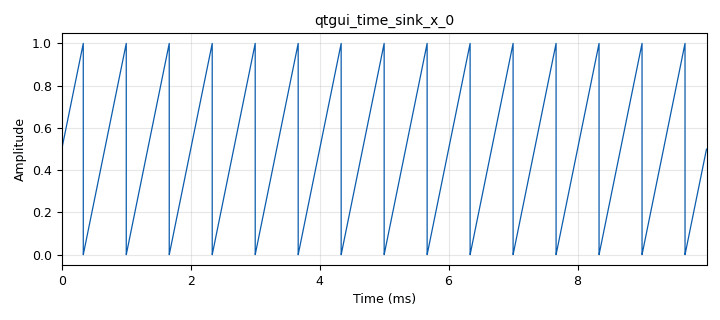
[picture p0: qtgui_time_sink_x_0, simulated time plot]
options:
  parameters:
    author: emzi
    generate_options: qt_gui
    id: txrx
    output_language: python
    title: Not titled yet
  states: {}

blocks:
- name: freq
  id: variable
  parameters:
    value: '1575420000'
  states: {}
- name: rx_samp_rate
  id: variable
  parameters:
    value: '250000'
  states: {}
- name: tone
  id: variable_qtgui_range
  parameters:
    start: '0'
    step: '1'
    stop: '5000'
    value: '1500'
  states: {}
- name: tx_samp_rate
  id: variable
  parameters:
    value: '8000000'
  states: {}
- name: analog_sig_source_x_0
  id: analog_sig_source_x
  parameters:
    amp: '1'
    freq: tone
    offset: '0'
    phase: '0'
    samp_rate: tx_samp_rate
    type: complex
    waveform: analog.GR_SAW_WAVE
  states: {}
- name: audio_sink_0
  id: audio_sink
  parameters:
    samp_rate: rx_samp_rate
  states: {}
- name: blocks_complex_to_mag_0_0
  id: blocks_complex_to_mag
  parameters: {}
  states: {}
- name: blocks_complex_to_real_0
  id: blocks_complex_to_real
  parameters: {}
  states: {}
- name: osmosdr_sink_0
  id: osmosdr_sink
  parameters:
    args: '"hackrf=0"'
    bb_gain0: '5'
    freq0: freq
    gain0: '0'
    if_gain0: '5'
    sample_rate: tx_samp_rate
    sync: sync
    type: fc32
  states: {}
- name: osmosdr_source_0
  id: osmosdr_source
  parameters:
    args: '"rtl=0,bias=0"'
    bb_gain0: '5'
    freq0: freq
    gain0: '5'
    gain_mode0: 'False'
    if_gain0: '5'
    sample_rate: rx_samp_rate
    sync: sync
    type: fc32
  states: {}
- name: qtgui_time_sink_x_0
  id: qtgui_time_sink_x
  parameters:
    autoscale: 'True'
    grid: 'True'
    size: '80000'
    srate: tx_samp_rate
    type: float
  states: {}
- name: qtgui_waterfall_sink_x_0
  id: qtgui_waterfall_sink_x
  parameters:
    bw: '10000'
    fc: freq
    fftsize: '1024'
    int_max: '0'
    type: complex
    update_time: '0.50'
  states: {}

connections:
- [analog_sig_source_x_0, '0', blocks_complex_to_real_0, '0']
- [analog_sig_source_x_0, '0', osmosdr_sink_0, '0']
- [blocks_complex_to_mag_0_0, '0', audio_sink_0, '0']
- [blocks_complex_to_real_0, '0', qtgui_time_sink_x_0, '0']
- [osmosdr_source_0, '0', blocks_complex_to_mag_0_0, '0']
- [osmosdr_source_0, '0', qtgui_waterfall_sink_x_0, '0']

metadata:
  file_format: 1
